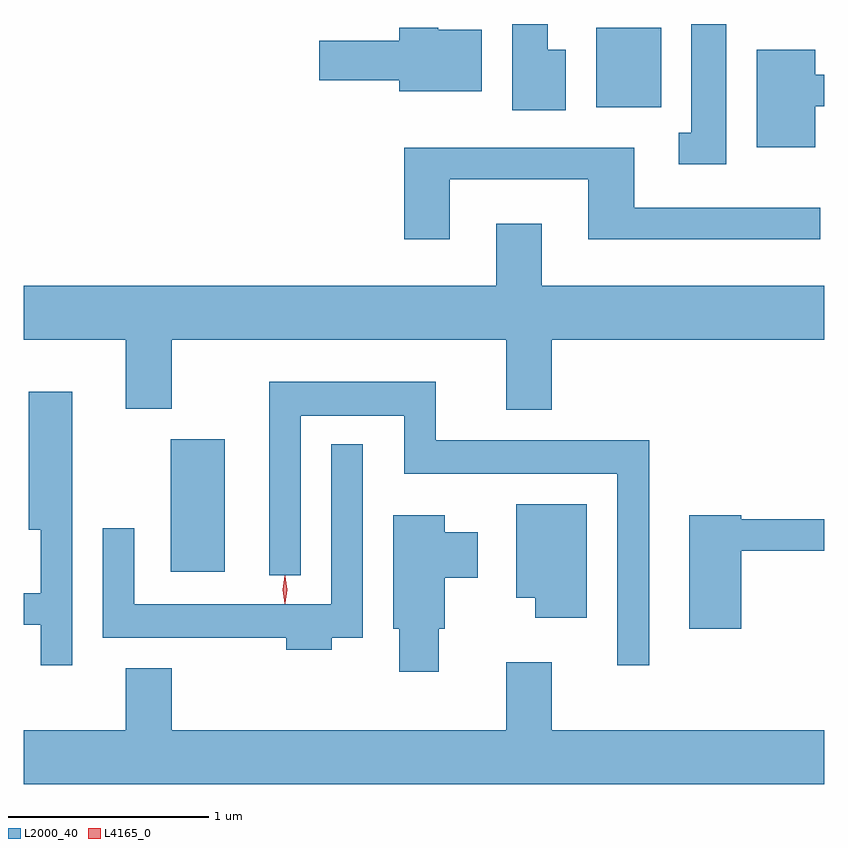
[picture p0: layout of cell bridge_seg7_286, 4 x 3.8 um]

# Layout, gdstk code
import gdstk
lib = gdstk.Library(unit=1e-6, precision=1e-09)
def R(c, l, rs):  # rectangles x0, y0, x1, y1
    for r in rs: c.add(gdstk.rectangle(r[:2], r[2:], *l))
def P(c, l, *ps):  # polygons
    for p in ps: c.add(gdstk.Polygon(p, *l))
L2000_40 = (2000, 40)
L4165_0 = (4165, 0)

bridge_seg7_286 = lib.new_cell('bridge_seg7_286')
R(bridge_seg7_286, L2000_40, [(1338.586,1793.076,1338.854,1793.739), (1340.711,1795.396,1341.034,1795.794)])
P(bridge_seg7_286, L2000_40, [(1341.359,1795.812),(1341.186,1795.812),(1341.186,1795.269),(1341.123,1795.269),(1341.123,1795.111),(1341.359,1795.111)],
  [(1340.559,1795.684),(1340.469,1795.684),(1340.469,1795.812),(1340.291,1795.812),(1340.291,1795.381),(1340.559,1795.381)],
  [(1340.139,1795.784),(1339.92,1795.784),(1339.92,1795.794),(1339.726,1795.794),(1339.726,1795.729),(1339.326,1795.729),(1339.326,1795.531),(1339.726,1795.531),(1339.726,1795.476),(1340.139,1795.476)],
  [(1341.804,1795.401),(1341.85,1795.401),(1341.85,1795.559),(1341.804,1795.559),(1341.804,1795.684),(1341.511,1795.684),(1341.511,1795.196),(1341.804,1795.196)],
  [(1339.979,1795.036),(1340.671,1795.036),(1340.671,1794.736),(1341.828,1794.736),(1341.828,1794.894),(1340.899,1794.894),(1340.899,1795.194),(1339.751,1795.194),(1339.751,1794.736),(1339.979,1794.736)],
  [(1340.489,1794.236),(1341.85,1794.236),(1341.85,1794.504),(1340.439,1794.504),(1340.439,1794.814),(1340.211,1794.814),(1340.211,1794.504),(1337.85,1794.504),(1337.85,1794.236),(1338.361,1794.236),(1338.361,1793.891),(1338.589,1793.891),(1338.589,1794.236),(1340.261,1794.236),(1340.261,1793.886),(1340.489,1793.886)],
  [(1340.974,1793.734),(1339.909,1793.734),(1339.909,1794.024),(1339.076,1794.024),(1339.076,1793.058),(1339.234,1793.058),(1339.234,1793.856),(1339.751,1793.856),(1339.751,1793.566),(1340.816,1793.566),(1340.816,1792.608),(1340.974,1792.608)],
  [(1338.094,1793.974),(1337.876,1793.974),(1337.876,1793.286),(1337.936,1793.286),(1337.936,1792.969),(1337.85,1792.969),(1337.85,1792.811),(1337.936,1792.811),(1337.936,1792.608),(1338.094,1792.608)],
  [(1339.389,1792.746),(1339.544,1792.746),(1339.544,1793.713),(1339.386,1793.713),(1339.386,1792.914),(1338.404,1792.914),(1338.404,1793.293),(1338.246,1793.293),(1338.246,1792.746),(1339.161,1792.746),(1339.161,1792.686),(1339.389,1792.686)],
  [(1340.664,1793.414),(1340.311,1793.414),(1340.311,1792.946),(1340.406,1792.946),(1340.406,1792.846),(1340.664,1792.846)],
  [(1339.924,1792.791),(1339.954,1792.791),(1339.954,1793.046),(1340.119,1793.046),(1340.119,1793.274),(1339.954,1793.274),(1339.954,1793.359),(1339.696,1793.359),(1339.696,1792.791),(1339.726,1792.791),(1339.726,1792.576),(1339.924,1792.576)],
  [(1341.434,1793.181),(1341.85,1793.181),(1341.85,1793.339),(1341.434,1793.339),(1341.434,1793.359),(1341.176,1793.359),(1341.176,1792.791),(1341.434,1792.791)],
  [(1341.85,1792.284),(1340.489,1792.284),(1340.489,1792.624),(1340.261,1792.624),(1340.261,1792.284),(1338.589,1792.284),(1338.589,1792.594),(1338.361,1792.594),(1338.361,1792.284),(1337.85,1792.284),(1337.85,1792.016),(1341.85,1792.016)])
P(bridge_seg7_286, L4165_0, [(1339.154,1792.917),(1339.145,1792.986),(1339.154,1793.056),(1339.155,1793.056),(1339.156,1793.056),(1339.165,1792.986),(1339.156,1792.917),(1339.155,1792.917)],
  [(1339.157,1792.919),(1339.156,1792.92),(1339.147,1792.986),(1339.156,1793.052),(1339.156,1793.053),(1339.157,1793.052),(1339.167,1792.986),(1339.157,1792.92)])

lib.write_gds('bridge_seg7_286.gds')
